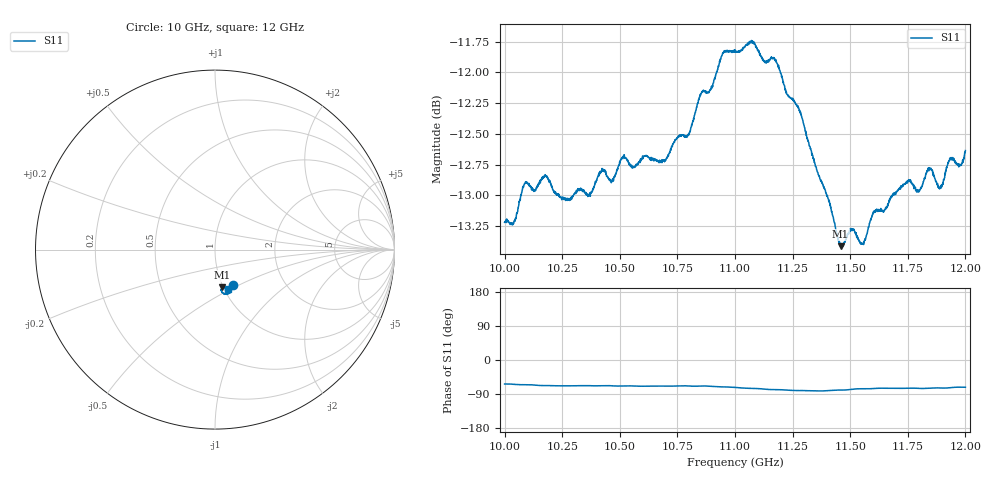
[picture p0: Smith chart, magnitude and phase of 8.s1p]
[Version] 2.0
! Rohde & Schwarz Vector Network Analyzer
! Rohde-Schwarz,ZNL20-2Port,1323001220200009,1.71.1.10-23.02.1.238
! Port Assignments:
! Nominal Port -> Actual Test Port
!  1 -> 1
! Created: GMT 2024-09-04 14:20:18
# Hz S DB R 50
[Number of Ports] 1
! freq[Hz]  S11[mag dB]  S11[ang]
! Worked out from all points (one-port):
!   2001 points, 10 GHz to 12 GHz, reference 50 ohm
!   lowest |S11| = -13.4 dB at 11.46 GHz (marker M1), VSWR 1.54, Z = 49.4 - j21.7 ohm
!   |S11| at or under -10 dB: start of sweep to end of sweep
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[Number of Frequencies] 28
[Network Data]
1e10  -13.22 -63.3
1.0041e10  -13.21 -64.3
1.0094e10  -12.90 -65.1
1.0177e10  -12.85 -67.5
1.025e10  -13.01 -68.2
1.037e10  -12.98 -67.8
1.0417e10  -12.82 -67.8
1.05e10  -12.72 -68.7
1.069e10  -12.71 -69.0
1.075e10  -12.53 -68.5
1.0796e10  -12.51 -68.5
1.0871e10  -12.15 -68.6
1.0949e10  -11.84 -71.0
1.1e10  -11.82 -72.4
1.1072e10  -11.74 -74.8
1.1168e10  -11.88 -78.1
1.125e10  -12.21 -80.3
1.1373e10  -12.87 -81.6
1.1458e10  -13.41 -79.4
1.15e10  -13.27 -77.9
1.1556e10  -13.40 -76.0
1.1605e10  -13.12 -75.0
1.175e10  -12.88 -74.6
1.1797e10  -12.97 -74.7
1.1847e10  -12.79 -74.1
1.1891e10  -12.94 -73.8
1.1933e10  -12.71 -73.1
1.2e10  -12.64 -71.9
[End]
